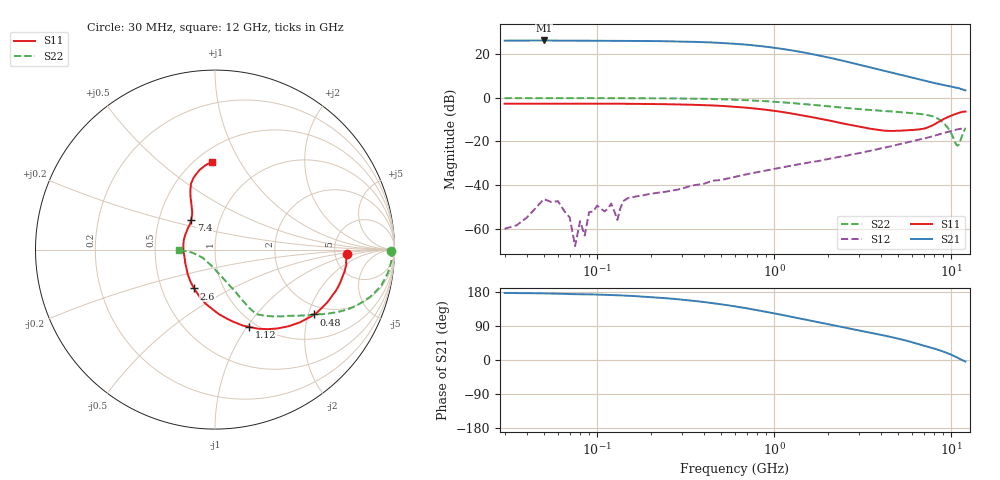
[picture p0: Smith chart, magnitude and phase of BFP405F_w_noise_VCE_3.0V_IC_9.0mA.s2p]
! Infineon Technologies  Discrete & RF Semiconductors
! BFP405F
! VCE =  3.0 V,  IC =  9.0 mA
! Common Emitter S-Parameters:  Nov 2015
# GHz  S  MA  R  50
!  f  S11  S21  S12  S22
! GHz  MAG  ANG  MAG  ANG  MAG  ANG  MAG  ANG
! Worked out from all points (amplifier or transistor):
!   239 points, 30 MHz to 12 GHz, reference 50 ohm
!   highest |S21| = 26.3 dB at 50 MHz (marker M1)
!   |S21| within 3 dB of that: start of sweep to 928.6 MHz
!   unconditionally stable (mu >= 1): 2.393 GHz to end of sweep
!   at 300 MHz: K = 0.23, MSG = 33.7 dB, |S12| = -41.6 dB
!   at 1.88 GHz: K = 0.85, MSG = 23.8 dB, |S12| = -28.5 dB
!   at 12 GHz: K = 1.40, MAG = 4.8 dB, |S12| = -13.8 dB
!   lowest NFmin = 1.60 dB at 450 MHz
!   S11 on the Smith chart (normalised r, x): 30 MHz: 6.45, -0.65; 480 MHz: 1.71, -2.18; 1.12 GHz: 0.92, -1.02; 2.6 GHz: 0.73, -0.33; 7.4 GHz: 0.73, +0.25; 12 GHz: 0.60, +0.76
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0.03  0.734 -1.8  20.44 176.9  0.001 113.6  0.9823 -0.5
0.05  0.7323 -3.4  20.59 175.6  0.0048 108.8  0.9851 -1.3
0.07  0.7342 -5.0  20.38 174.0  0.0018 89.5  0.9873 -2.0
0.075  0.7334 -5.2  20.32 173.8  0.0004 144.5  0.9856 -2.0
0.08  0.7326 -5.5  20.27 173.5  0.0015 -115.0  0.984 -1.9
0.085  0.7345 -5.9  20.31 173.4  0.0007 136.0  0.9847 -2.2
0.09  0.7365 -6.3  20.34 173.3  0.0024 99.8  0.9855 -2.5
0.12  0.7328 -8.9  20.19 171.5  0.0038 111.6  0.9845 -3.6
0.13  0.7332 -9.5  20.17 170.7  0.0016 59.9  0.9839 -3.9
0.14  0.7298 -10.3  20.2 170.3  0.0043 81.4  0.9844 -4.2
0.24  0.7153 -17.4  19.78 163.3  0.007 83.2  0.9732 -7.3
0.36  0.6898 -25.5  19.09 155.6  0.0101 79.4  0.9544 -10.8
0.48  0.6598 -33.2  18.23 148.3  0.0129 79.1  0.931 -14.0
0.6  0.6228 -40.6  17.27 141.4  0.0155 74.5  0.905 -16.8
0.8  0.5614 -51.5  15.59 131.4  0.0198 72.8  0.858 -20.7
1.12  0.471 -66.3  13.12 118.5  0.0257 69.3  0.7865 -25.7
1.64  0.3595 -86.6  10.02 102.9  0.0341 65.5  0.6925 -31.3
2.6  0.2458 -118.3  6.632 84.1  0.0476 64.1  0.5795 -39.5
4.5  0.1749 -169.3  3.837 61.4  0.0764 58.7  0.49 -49.4
7.4  0.2121 128.9  2.346 35.0  0.1236 48.7  0.3995 -58.6
10.8  0.4399 102.9  1.691 6.3  0.1892 30.2  0.0803 -127.3
12  0.4857 92.3  1.476 -3.8  0.2034 23.5  0.2012 -179.0
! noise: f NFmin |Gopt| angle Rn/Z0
0.45  1.6  0.23  5  0.33
0.9  1.61  0.21  11  0.35
1.5  1.67  0.2  16  0.26
1.9  1.7  0.18  22  0.29
2.4  1.84  0.17  30  0.34
3  1.92  0.15  43  0.31
3.5  1.97  0.13  50  0.3
4.5  2.13  0.1  51  0.2
5.5  2.32  0.05  51  0.05
